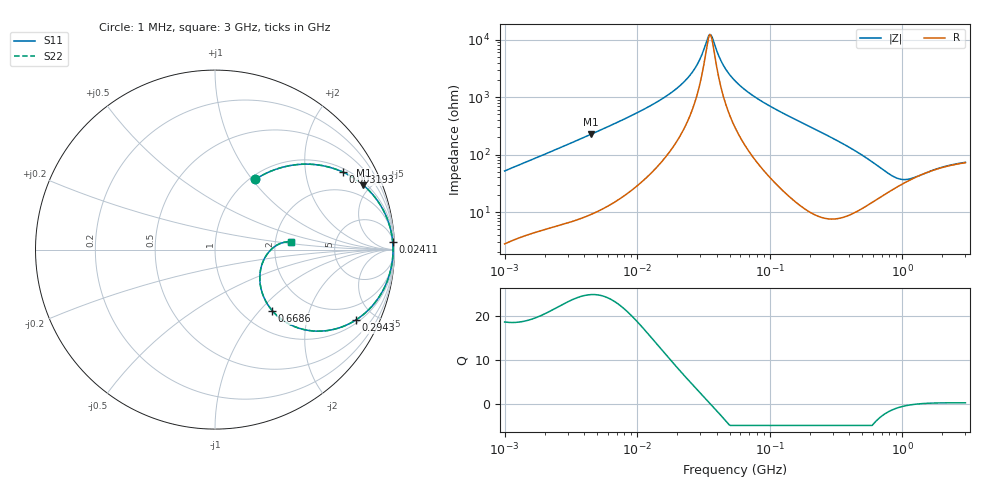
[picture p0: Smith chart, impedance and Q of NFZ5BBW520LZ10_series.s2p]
! NFZ5BBW520LZ10
# Hz S RI R 50
!Freq.(Hz) S11(Real) S11(Imag) S21(Real) S21(Imag) S12(Real) S12(Imag) S22(Real) S22(Imag)
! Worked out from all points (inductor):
!   401 points, 1 MHz to 3 GHz, reference 50 ohm
!   read as one part in series: L = 8.14 uH near 1.041 MHz
!   highest Q = 24.9 at 4.487 MHz (marker M1), where L = 8 uH
!   self-resonance near 35.26 MHz
!   S11 on the Smith chart (normalised r, x): 1 MHz: 1.06, +1.04; 3.193 MHz: 1.14, +3.20; 24.11 MHz: 9, +43; 294.3 MHz: 1.15, -3.92; 668.6 MHz: 1.35, -1.18; 3 GHz: 2.45, +0.25
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1000000  0.2243 0.3912  0.7757 -0.3912  0.7757 -0.3912  0.2243 0.3912
1859846  0.4711 0.4748  0.5289 -0.4748  0.5289 -0.4748  0.4711 0.4748
3192880  0.7114 0.4325  0.2886 -0.4325  0.2886 -0.4325  0.7114 0.4325
3823119  0.7772 0.3963  0.2228 -0.3963  0.2228 -0.3963  0.7772 0.3963
4487043  0.8263 0.3593  0.1737 -0.3593  0.1737 -0.3593  0.8263 0.3593
7550455  0.9291 0.2352  0.0709 -0.2352  0.0709 -0.2352  0.9291 0.2352
1.461624e7  0.9785 0.1118  0.0215 -0.1118  0.0215 -0.1118  0.9785 0.1118
2.41077e7  0.9898 0.0446  0.0102 -0.0446  0.0102 -0.0446  0.9898 0.0446
2.886629e7  0.9914 0.0235  0.00862 -0.0235  0.00862 -0.0235  0.9914 0.0235
3.526298e7  0.992 0.000802  0.00799 -0.000802  0.00799 -0.000802  0.992 0.000802
3.670325e7  0.992 -0.00371  0.00799 0.00371  0.00799 0.00371  0.992 -0.00371
4.483659e7  0.9914 -0.0265  0.00864 0.0265  0.00864 0.0265  0.9914 -0.0265
5.477226e7  0.9895 -0.0503  0.0105 0.0503  0.0105 0.0503  0.9895 -0.0503
8.854986e7  0.978 -0.1169  0.022 0.1169  0.022 0.1169  0.978 -0.1169
2.094008e8  0.8875 -0.3002  0.1125 0.3002  0.1125 0.3002  0.8875 -0.3002
2.942768e8  0.7852 -0.392  0.2148 0.392  0.2148 0.392  0.7852 -0.392
4.570858e8  0.5476 -0.4535  0.4524 0.4535  0.4524 0.4535  0.5476 -0.4535
6.685918e8  0.3193 -0.3408  0.6807 0.3408  0.6807 0.3408  0.3193 -0.3408
8.005644e8  0.2622 -0.2391  0.7378 0.2391  0.7378 0.2391  0.2622 -0.2391
1.10276e9  0.2642 -0.0752  0.7358 0.0752  0.7358 0.0752  0.2642 -0.0752
1.645649e9  0.3412 0.0227  0.6588 -0.0227  0.6588 -0.0227  0.3412 0.0227
3e9  0.4225 0.0415  0.5775 -0.0415  0.5775 -0.0415  0.4225 0.0415
